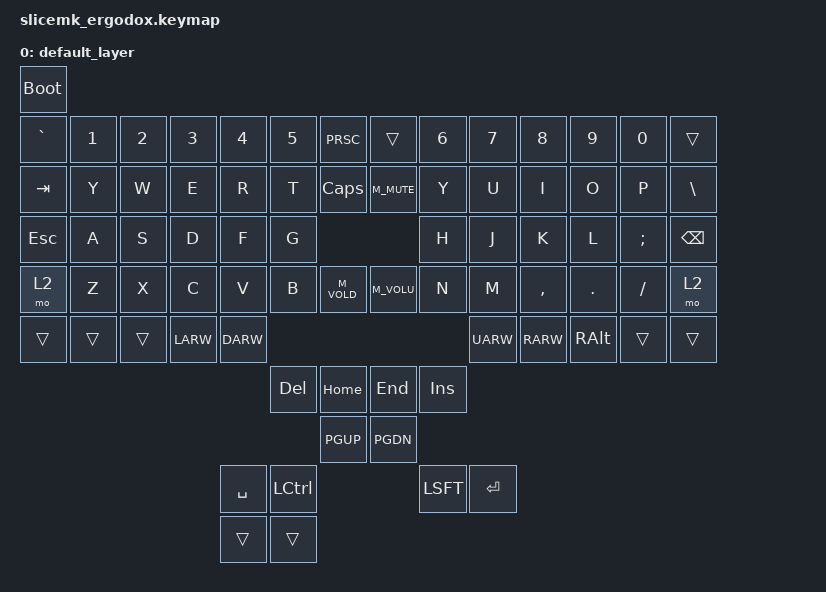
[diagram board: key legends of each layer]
/*
 * Copyright (c) 2020 The ZMK Contributors
 *
 * SPDX-License-Identifier: MIT
 */

#include <behaviors.dtsi>
#include <dt-bindings/zmk/keys.h>
#include <dt-bindings/zmk/bt.h>

/ {
	keymap {
		compatible = "zmk,keymap";
		default_layer {
			bindings = <
	&bootloader
    &kp GRAV   &kp NUM_1  &kp NUM_2  &kp NUM_3  &kp NUM_4  &kp NUM_5  &kp PRSC   &trans     &kp NUM_6  &kp NUM_7  &kp NUM_8  &kp NUM_9  &kp NUM_0  &trans
    &kp TAB    &kp Y      &kp W      &kp E      &kp R      &kp T      &kp CLCK   &kp M_MUTE &kp Y      &kp U      &kp I      &kp O      &kp P      &kp BSLH
    &kp ESC    &kp A      &kp S      &kp D      &kp F      &kp G                            &kp H      &kp J      &kp K      &kp L      &kp SCLN   &kp BKSP
    &mo 2      &kp Z      &kp X      &kp C      &kp V      &kp B      &kp M_VOLD &kp M_VOLU &kp N      &kp M      &kp CMMA   &kp DOT    &kp FSLH   &mo 2
    &trans     &trans     &trans   &kp LARW   &kp DARW                                               &kp UARW   &kp RARW   &kp RALT   &trans     &trans
                                                           &kp DEL    &kp HOME   &kp END    &kp INS
                                                                      &kp PGUP   &kp PGDN
                                                &kp SPC    &kp LCTL                         &kp LSFT   &kp RET

												&trans &trans
			>;
		};
	};
};
